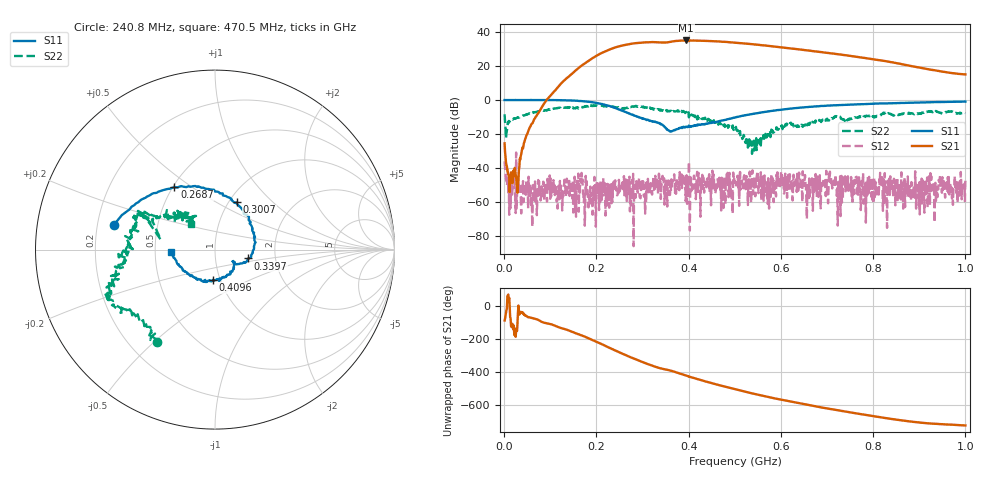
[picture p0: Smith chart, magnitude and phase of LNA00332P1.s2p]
! Created with skrf 1.9.0 (http://scikit-rf.org).
# Hz S RI R 50.0
!freq ReS11 ImS11 ReS21 ImS21 ReS12 ImS12 ReS22 ImS22
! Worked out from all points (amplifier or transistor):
!   1001 points, 1 MHz to 1 GHz, reference 50 ohm
!   highest |S21| = 35.1 dB at 394.6 MHz (marker M1)
!   |S21| within 3 dB of that: 256.1 MHz to 566.2 MHz (310.1 MHz wide, 75.4 % of centre) (the widest 1 of 2)
!   unconditionally stable (mu >= 1): start of sweep to 78.61 MHz; 215.2 MHz to 400.5 MHz; 400.7 MHz to end of sweep (the widest 3 of 30)
!   at 166.8 MHz: K = 1.41, MAG = 30.6 dB, |S12| = -48.8 dB
!   at 500.5 MHz: K = 2.38, MAG = 34.3 dB, |S12| = -47.9 dB
!   at 1 GHz: K = 2.66, MAG = 23.7 dB, |S12| = -46.5 dB
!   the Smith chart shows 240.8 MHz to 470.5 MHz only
!   S11 on the Smith chart (normalised r, x): 240.8 MHz: 0.27, +0.11; 268.7 MHz: 0.51, +0.43; 300.7 MHz: 1.09, +0.63; 339.7 MHz: 1.44, -0.15; 409.6 MHz: 0.93, -0.32; 470.5 MHz: 0.61, -0.02
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1000000  0.9961 0.0154  0.000819 -0.0529  -0.0136 0.00755  -0.1855 0.3323
1.07893e8  0.5222 -0.8484  -0.8121 -1.548  0.00214 0.000389  0.4361 -0.361
1.67833e8  -0.2477 -0.8959  -10.29 -0.3221  -0.00438 0.00561  0.036 -0.6192
2.08792e8  -0.6764 -0.382  -15.68 17.24  0.00419 0.00124  -0.2232 -0.6435
2.4076e8  -0.5653 0.1397  -0.5277 35.37  -0.00395 0.00168  -0.3235 -0.5143
2.68732e8  -0.226 0.3472  24.2 36.25  -0.00214 0.000391  -0.4749 -0.3373
3.007e8  0.1227 0.2633  46.29 16.96  -0.000469 0.00468  -0.5816 -0.1933
3.18682e8  0.2096 0.1162  50.8 1.541  0.00168 0.00295  -0.5308 -0.1332
3.34666e8  0.2098 -0.0144  48.77 -11.94  -0.00138 0.000921  -0.5336 -0.0429
3.39661e8  0.1842 -0.0493  47.3 -15.03  0.001 -0.000676  -0.5254 -0.00171
3.68632e8  0.1074 -0.0735  43.25 -32.42  -0.00173 0.00623  -0.4463 0.1358
3.94606e8  0.0611 -0.1522  27.58 -49.66  0.000226 0.00473  -0.3927 0.2113
4.09591e8  -0.0109 -0.1681  15.71 -54.22  0.00241 0.000176  -0.3068 0.1849
4.39561e8  -0.1481 -0.135  -7.855 -54.47  0.00293 0.0032  -0.1821 0.1865
4.7053e8  -0.2458 -0.0129  -27.38 -44.71  0.000493 0.000256  -0.1319 0.1417
5.005e8  -0.2642 0.1487  -39.26 -29.54  0.000158 -0.00404  -0.1023 0.1033
5.4046e8  -0.1825 0.3476  -42.97 -7.751  0.00334 -0.00157  -0.0471 0.0309
5.88412e8  0.0258 0.4914  -35.16 12.41  -0.00211 -0.000824  -0.1014 -0.0683
6.67333e8  0.4013 0.4941  -12.94 24.45  0.00227 -0.00436  -0.2076 -0.0768
7.53247e8  0.6787 0.2823  4.742 19.06  0.000915 -0.00115  -0.2861 -0.013
8.34166e8  0.7971 0.0213  10.25 8.67  -0.000704 -0.00395  -0.3984 0.00505
1e9  0.7349 -0.5154  5.671 -0.1258  -0.00223 0.0042  -0.2593 0.3213
